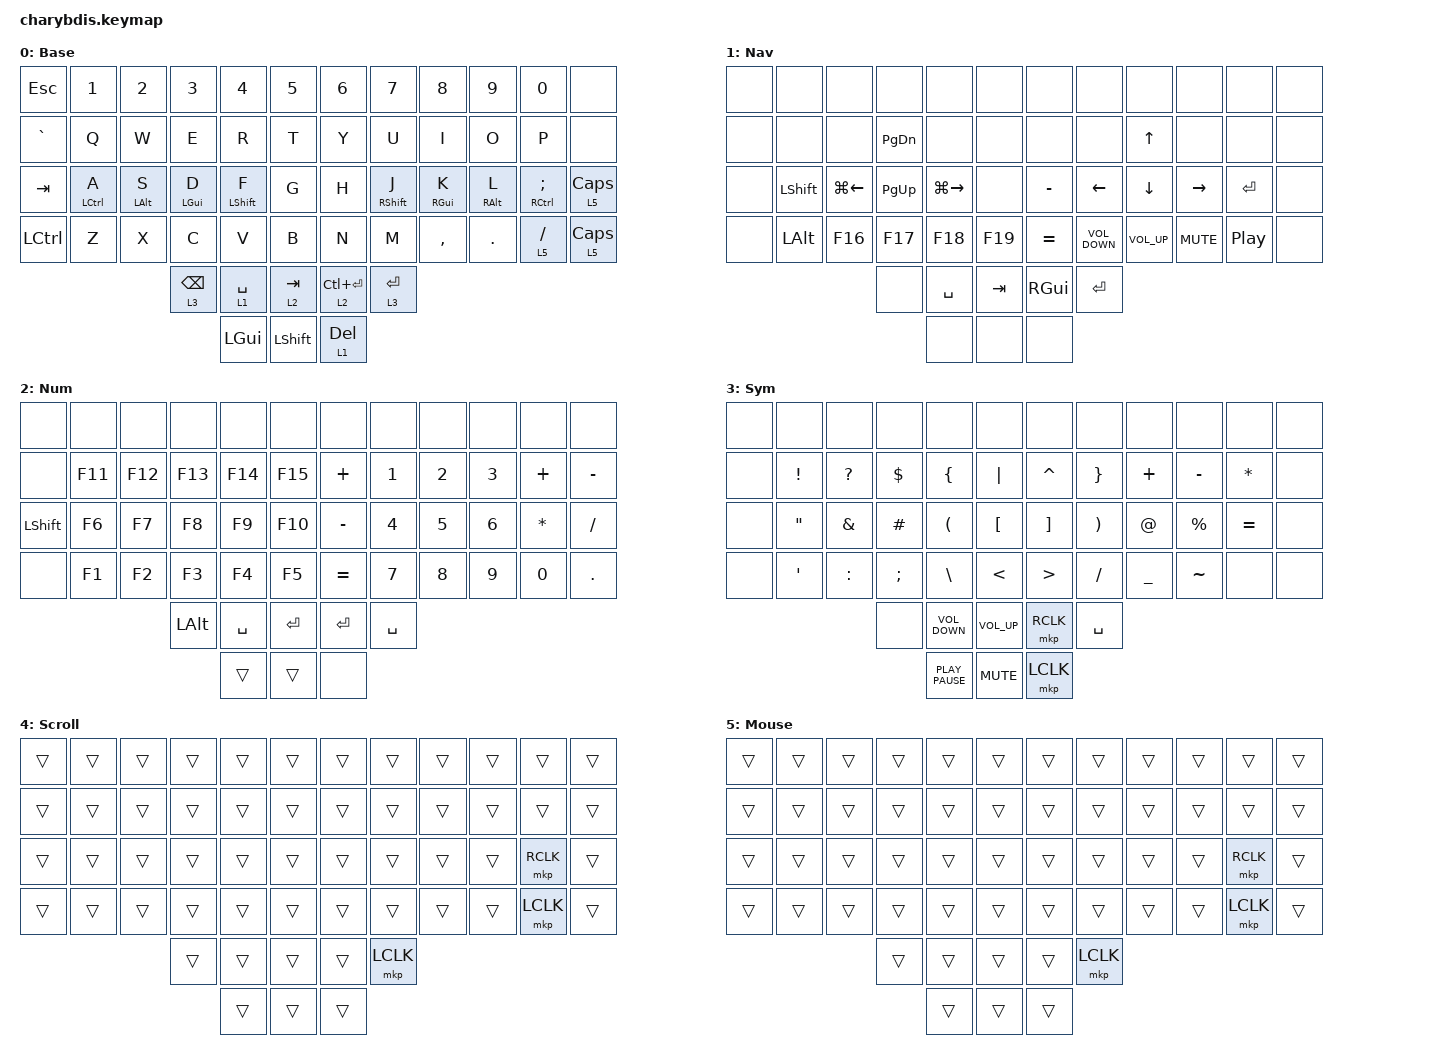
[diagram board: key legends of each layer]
#include <behaviors.dtsi>
#include <dt-bindings/zmk/bt.h>
#include <dt-bindings/zmk/keys.h>
#include <dt-bindings/zmk/mouse.h>

&lt {
    tapping-term-ms = <200>;
    flavor = "balanced";
    quick-tap-ms = <150>;
};

/ {
    combos {
        compatible = "zmk,combos";

        escc {
            bindings = <&kp ESC>;
            key-positions = <17 18>;
            layers = <0>;
        };
    };

    behaviors {
        hm: homerow_mods {
            compatible = "zmk,behavior-hold-tap";
            #binding-cells = <2>;
            tapping-term-ms = <300>;
            flavor = "tap-preferred";
            bindings = <&kp>, <&kp>;

            label = "HOMEROW_MODS";
        };
    };

    keymap {
        compatible = "zmk,keymap";

        Base {
            bindings = <
&kp ESC    &kp N1       &kp N2          &kp N3           &kp N4            &kp N5            &kp N6         &kp N7             &kp N8      &kp N9           &kp N0               &none
&kp GRAVE  &kp Q        &kp W           &kp E            &kp R             &kp T             &kp Y          &kp U              &kp I       &kp O            &kp P                &none
&kp TAB    &hm LCTRL A  &hm LEFT_ALT S  &hm LEFT_GUI D   &hm LEFT_SHIFT F  &kp G             &kp H          &hm RIGHT_SHIFT J  &hm RGUI K  &hm RIGHT_ALT L  &hm RCTRL SEMICOLON  &lt 5 CAPS
&kp LCTRL  &kp Z        &kp X           &kp C            &kp V             &kp B             &kp N          &kp M              &kp COMMA   &kp DOT          &lt 5 SLASH          &lt 5 CAPS
                                        &lt 3 BACKSPACE  &lt 1 SPACE       &lt 2 TAB         &lt 2 LC(RET)  &lt 3 RET
                                                         &kp LEFT_GUI      &kp LEFT_SHIFT    &lt 1 DELETE
            >;

            trackball-bindings = <&tmv_coarse>;
        };

        Nav {
            bindings = <
&none  &none           &none         &none          &none          &none      &none          &none              &none            &none       &none             &none
&none  &none           &none         &kp PAGE_DOWN  &none          &none      &none          &none              &kp UP_ARROW     &none       &none             &none
&none  &kp LEFT_SHIFT  &kp LG(LEFT)  &kp PAGE_UP    &kp LG(RIGHT)  &none      &kp MINUS      &kp LEFT           &kp DOWN_ARROW   &kp RIGHT   &kp RET           &none
&none  &kp LALT        &kp F16         &kp F17          &kp F18          &kp F19      &kp EQUAL      &kp C_VOLUME_DOWN  &kp C_VOLUME_UP  &kp K_MUTE  &kp C_PLAY_PAUSE  &none
                                     &none          &kp SPACE      &kp TAB    &kp RIGHT_GUI  &kp RET
                                                    &none          &none      &none
            >;

            trackball-bindings = <&tmv_coarse>;
        };

        Num {
            bindings = <
&none           &none    &none    &none         &none      &none        &none      &none      &none   &none   &none         &none
&none           &kp F11  &kp F12  &kp F13       &kp F14    &kp F15      &kp PLUS   &kp N1     &kp N2  &kp N3  &kp PLUS      &kp MINUS
&kp LEFT_SHIFT  &kp F6   &kp F7   &kp F8        &kp F9     &kp F10      &kp MINUS  &kp N4     &kp N5  &kp N6  &kp ASTERISK  &kp SLASH
&none           &kp F1   &kp F2   &kp F3        &kp F4     &kp F5       &kp EQUAL  &kp N7     &kp N8  &kp N9  &kp N0        &kp PERIOD
                                  &kp LEFT_ALT  &kp SPACE  &kp ENTER    &kp RET    &kp SPACE
                                                &trans     &trans       &none
            >;

            trackball-bindings = <&tmv_coarse>;
        };

        Sym {
            bindings = <
&none  &none              &none          &none          &none                 &none               &none              &none                  &none           &none        &none         &none
&none  &kp EXCLAMATION    &kp QUESTION   &kp DOLLAR     &kp LEFT_BRACE        &kp PIPE            &kp CARET          &kp RIGHT_BRACE        &kp PLUS        &kp MINUS    &kp ASTERISK  &none
&none  &kp DOUBLE_QUOTES  &kp AMPERSAND  &kp HASH       &kp LEFT_PARENTHESIS  &kp LEFT_BRACKET    &kp RIGHT_BRACKET  &kp RIGHT_PARENTHESIS  &kp AT_SIGN     &kp PERCENT  &kp EQUAL     &none
&none  &kp SINGLE_QUOTE   &kp COLON      &kp SEMICOLON  &kp BACKSLASH         &kp LESS_THAN       &kp GREATER_THAN   &kp SLASH              &kp UNDERSCORE  &kp TILDE    &none         &none
                                         &none          &kp C_VOLUME_DOWN     &kp C_VOLUME_UP     &mkp RCLK          &kp SPACE
                                                        &kp K_PLAY_PAUSE      &kp K_MUTE          &mkp LCLK
            >;

            trackball-bindings = <&tmv_coarse>;
        };

        Scroll {
            bindings = <
&trans  &trans  &trans  &trans  &trans  &trans    &trans  &trans     &trans  &trans  &trans     &trans
&trans  &trans  &trans  &trans  &trans  &trans    &trans  &trans     &trans  &trans  &trans     &trans
&trans  &trans  &trans  &trans  &trans  &trans    &trans  &trans     &trans  &trans  &mkp RCLK  &trans
&trans  &trans  &trans  &trans  &trans  &trans    &trans  &trans     &trans  &trans  &mkp LCLK  &trans
                        &trans  &trans  &trans    &trans  &mkp LCLK
                                &trans  &trans    &trans
            >;

            trackball-bindings = <&tsl>;
        };

        Mouse {
            bindings = <
&trans  &trans  &trans  &trans  &trans  &trans    &trans  &trans     &trans  &trans  &trans     &trans
&trans  &trans  &trans  &trans  &trans  &trans    &trans  &trans     &trans  &trans  &trans     &trans
&trans  &trans  &trans  &trans  &trans  &trans    &trans  &trans     &trans  &trans  &mkp RCLK  &trans
&trans  &trans  &trans  &trans  &trans  &trans    &trans  &trans     &trans  &trans  &mkp LCLK  &trans
                        &trans  &trans  &trans    &trans  &mkp LCLK
                                &trans  &trans    &trans
            >;

            trackball-bindings = <&tmv_coarse>;
        };
    };
};
